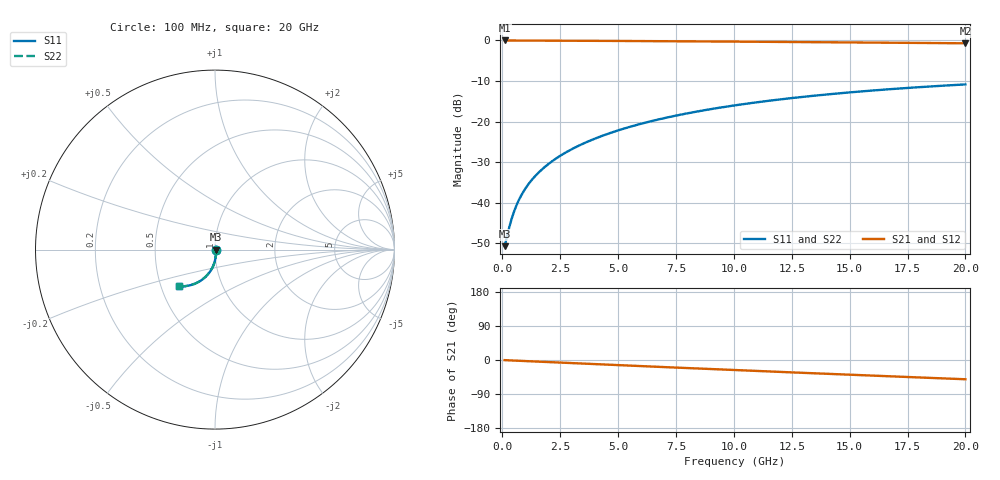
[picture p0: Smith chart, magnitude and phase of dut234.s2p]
! Touchstone file exported from HFSS 2026.1.0
!  File:  C:/ffzhzh/LocalFiles/Ansys_Project_Files/temp_train_TMRDL_234_1782984552_42984.aedt
!  Generated:  05:30:42 PM Jul  2, 2026
!  Design:  TMRDL
!  Project:  temp_train_TMRDL_234_1782984552_42984
! Variables:
!  h_bsmrdl = 2um
!  h_ox = 20um
!  h_rdl = 5um
!  h_sub = 80um
!  h_tmrdl = 4.47um
!  h_tsv = 80um
!  h_via = 3um
!  l_bsmrdl = 300um
!  l_sub = 1255.8um
!  l_tmrdl = 855.8um
!  m_sub = 200um
!  pitch = 29.91um
!  r_tsv = 6um
!  s_tmrdl = 10um
!  w_bsmrdl = 18um
!  w_sub = 500um
!  w_tmrdl = 27.97um
!  x_tsv_center1 = 869.785um
!  x_tsv_center2 = 1187.785um
!  x_tsv_center3 = 2071.555um
!  x_tsv_center4 = 2389.555um
!  x_tsv_center5 = 3273.325um
!  x_tsv_center6 = 3591.325um
# GHz S MA R 50.000000
! Terminal data exported
! Port[1] = TM_RDL1_1_T1
! Port[2] = TM_RDL1_1_T2
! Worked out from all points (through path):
!   200 points, 100 MHz to 20 GHz, reference 50 ohm
!   highest |S21| = -0.03 dB at 100 MHz (marker M1); lowest = -0.7 dB at 20 GHz (marker M2)
!   group delay of S21, straight-line fit = 7.03 ps
!   lowest |S11| = -50.7 dB at 100 MHz (marker M3), VSWR 1.01, Z = 50.3 - j0.0465 ohm
!   |S11| at or under -10 dB: start of sweep to end of sweep
!   |S22| runs from -50.7 to -10.9 dB; largest |S21 - S12| = 3.7e-15
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0.1  0.002922 -9.1  0.9971 -0.3  0.9971 -0.3  0.002922 -9.1
! Gamma 0 0 0 0
! Port Impedance 50 0 50 0
0.3  0.004976 -31.7  0.9957 -0.9  0.9957 -0.9  0.004976 -31.7
0.4  0.006299 -40.9  0.9952 -1.2  0.9952 -1.2  0.006299 -40.9
0.5  0.007694 -48.3  0.9947 -1.5  0.9947 -1.5  0.007693 -48.3
0.6  0.009126 -54.0  0.9944 -1.7  0.9944 -1.7  0.009126 -54.0
0.7  0.01058 -58.5  0.9941 -2.0  0.9941 -2.0  0.01058 -58.5
0.9  0.01353 -65.2  0.9937 -2.6  0.9937 -2.6  0.01353 -65.2
1.2  0.018 -71.6  0.9932 -3.4  0.9932 -3.4  0.018 -71.6
1.4  0.02101 -74.6  0.9929 -3.9  0.9929 -3.9  0.021 -74.6
1.7  0.02555 -77.9  0.9923 -4.7  0.9923 -4.7  0.02555 -77.9
2.2  0.03321 -81.9  0.9913 -6.1  0.9913 -6.1  0.03321 -81.9
2.8  0.04255 -85.2  0.9899 -7.7  0.9899 -7.7  0.04255 -85.2
3.5  0.05362 -88.3  0.988 -9.6  0.988 -9.6  0.05362 -88.3
4.2  0.06486 -90.9  0.986 -11.4  0.986 -11.4  0.06486 -90.9
5  0.07783 -93.6  0.9834 -13.5  0.9834 -13.5  0.07782 -93.6
5.9  0.09248 -96.5  0.9804 -15.9  0.9804 -15.9  0.09248 -96.5
6.8  0.1071 -99.3  0.9773 -18.2  0.9773 -18.2  0.1071 -99.3
8.3  0.1312 -103.8  0.9717 -22.1  0.9717 -22.1  0.1312 -103.8
10.1  0.1592 -108.9  0.9647 -26.7  0.9647 -26.7  0.1592 -109.0
13.4  0.2073 -117.9  0.9506 -34.9  0.9506 -34.9  0.2072 -118.0
16.7  0.25 -126.5  0.9356 -43.0  0.9356 -43.0  0.25 -126.5
20  0.2867 -134.6  0.9201 -50.8  0.9201 -50.8  0.2867 -134.6
